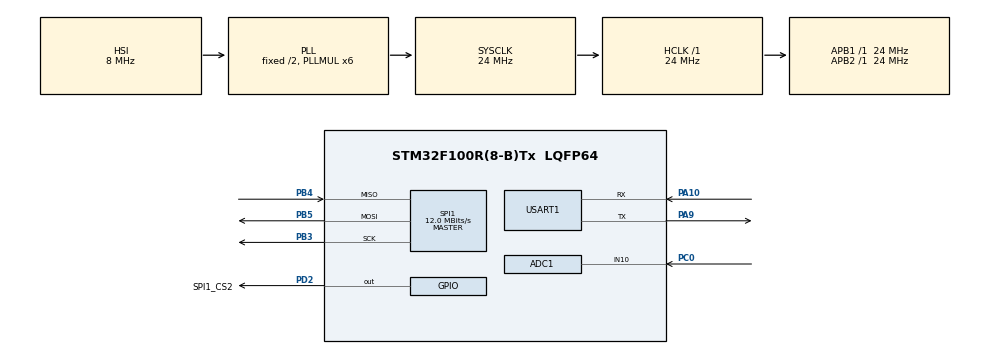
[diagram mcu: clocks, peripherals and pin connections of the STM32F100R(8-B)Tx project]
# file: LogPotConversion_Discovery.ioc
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Mcu.Family=STM32F1
PD1-OSC_OUT.Mode=HSE-External-Oscillator
PA10.Mode=Asynchronous
SPI1.VirtualType=VM_MASTER
ADC1.ContinuousConvMode=ENABLE
PD0-OSC_IN.Signal=RCC_OSC_IN
PC0.Signal=ADCx_IN10
RCC.SYSCLKSource=RCC_SYSCLKSOURCE_PLLCLK
ProjectManager.StackSize=0x400
PD1-OSC_OUT.Signal=RCC_OSC_OUT
PA13.Signal=SYS_JTMS-SWDIO
PA9.Mode=Asynchronous
ProjectManager.TargetToolchain=STM32CubeIDE
SPI1.Direction=SPI_DIRECTION_2LINES
RCC.HCLKFreq_Value=24000000
RCC.APB2TimFreq_Value=24000000
PA9.Signal=USART1_TX
ADC1.Channel-1\#ChannelRegularConversion=ADC_CHANNEL_10
SPI1.CalculateBaudRate=12.0 MBits/s
RCC.AHBFreq_Value=24000000
PD0-OSC_IN.Mode=HSE-External-Oscillator
PB3.Mode=Full_Duplex_Master
board=custom
RCC.PLLMUL=RCC_PLL_MUL6
RCC.APB2Freq_Value=24000000
PB4.Mode=Full_Duplex_Master
SPI1.Mode=SPI_MODE_MASTER
PA14.Mode=Serial_Wire
PB5.Mode=Full_Duplex_Master
PA13.Mode=Serial_Wire
Mcu.Name=STM32F100R(8-B)Tx
PB3.Signal=SPI1_SCK
ADC1.SamplingTime-1\#ChannelRegularConversion=ADC_SAMPLETIME_1CYCLE_5
RCC.SYSCLKFreq_VALUE=24000000
Mcu.Package=LQFP64
PB5.Signal=SPI1_MOSI
ADC1.master=1
USART1.VirtualMode=VM_ASYNC
ADC1.Rank-1\#ChannelRegularConversion=1
PA10.Signal=USART1_RX
PA14.Signal=SYS_JTCK-SWCLK
SH.ADCx_IN10.0=ADC1_IN10,IN10
ProjectManager.HeapSize=0x200
NVIC.PriorityGroup=NVIC_PRIORITYGROUP_4
ADC1.NbrOfConversionFlag=1
RCC.APB1TimFreq_Value=24000000
PD2.Signal=GPIO_Output
NVIC.USART1_IRQn=true\:0\:0\:false\:false\:true\:true\:true
RCC.APB1Freq_Value=24000000
PD2.GPIO_Label=SPI1_CS2
PB4.Signal=SPI1_MISO

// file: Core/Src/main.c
/* USER CODE BEGIN Header */
/**
  ******************************************************************************
  * @file           : main.c
  * @brief          : Main program body
  ******************************************************************************
  * @attention
  *
  * <h2><center>&copy; Copyright (c) 2021 STMicroelectronics.
  * All rights reserved.</center></h2>
  *
  * This software component is licensed by ST under BSD 3-Clause license,
  * the "License"; You may not use this file except in compliance with the
  * License. You may obtain a copy of the License at:
  *                        opensource.org/licenses/BSD-3-Clause
  *
  ******************************************************************************
  */
/* USER CODE END Header */
#include "main.h"
#include "adc.h"
#include "spi.h"
#include "usart.h"
#include "gpio.h"

/* USER CODE BEGIN Includes */
#include "stdlib.h"
/* USER CODE END Includes */

void SystemClock_Config(void);

int main(void)
{

  /* MCU Configuration--------------------------------------------------------*/

  /* Reset of all peripherals, Initializes the Flash interface and the Systick. */
  HAL_Init();

  /* Configure the system clock */
  SystemClock_Config();

  /* Initialize all configured peripherals */
  MX_GPIO_Init();
  MX_SPI1_Init();
  MX_ADC1_Init();
  MX_USART1_UART_Init();
  /* USER CODE BEGIN 2 */

  uint32_t adcResult1 = 0;
  uint32_t adcResult2 = 0;
  uint32_t adcTotal;
  uint32_t temp = 0;
  char txBuf[4] = {0};
  /* USER CODE END 2 */
  /* Infinite loop */
  while (1)
  {

    /* USER CODE BEGIN 3 */
      /*
      // Get 1st result;
      HAL_ADC_Start(&hadc1);
      HAL_ADC_PollForConversion(&hadc1, 100);
      adcResult1 = HAL_ADC_GetValue(&hadc1);
      HAL_ADC_Stop(&hadc1);

      // Get 2nd result;
      HAL_ADC_Start(&hadc1);
      HAL_ADC_PollForConversion(&hadc1, 100);
      adcResult2 = HAL_ADC_GetValue(&hadc1);
      HAL_ADC_Stop(&hadc1);

      adcTotal = (adcResult1 + adcResult2)/2;

      if (adcTotal <= 1020)
      {
          temp = adcTotal/17;
      }

      else if (adcTotal > 1020)
      {
          temp = adcTotal/68;
          temp = temp + 45;
      }
        */
      HAL_ADC_Start(&hadc1);
      HAL_ADC_PollForConversion(&hadc1, 100);
      adcResult1 = HAL_ADC_GetValue(&hadc1);
      HAL_ADC_Stop(&hadc1);
      temp = adcResult1/41;

      itoa(temp, txBuf, 10);
      HAL_ADC_Stop(&hadc1);
      txBuf[2] = '\r';
      txBuf[3] = '\n';
      HAL_UART_Transmit_IT(&huart1, (uint8_t*)txBuf, sizeof(txBuf));
      HAL_UART_Transmit_IT(&huart1, (uint8_t*)"\n\r-------------\n\r", sizeof("\n-------------\n\r"));
      HAL_Delay(500);
  }
  /* USER CODE END 3 */
}

void SystemClock_Config(void)
{
  RCC_OscInitTypeDef RCC_OscInitStruct = {0};
  RCC_ClkInitTypeDef RCC_ClkInitStruct = {0};
  RCC_PeriphCLKInitTypeDef PeriphClkInit = {0};

  /** Initializes the RCC Oscillators according to the specified parameters
  * in the RCC_OscInitTypeDef structure.
  */
  RCC_OscInitStruct.OscillatorType = RCC_OSCILLATORTYPE_HSI;
  RCC_OscInitStruct.HSIState = RCC_HSI_ON;
  RCC_OscInitStruct.HSICalibrationValue = RCC_HSICALIBRATION_DEFAULT;
  RCC_OscInitStruct.PLL.PLLState = RCC_PLL_ON;
  RCC_OscInitStruct.PLL.PLLSource = RCC_PLLSOURCE_HSI_DIV2;
  RCC_OscInitStruct.PLL.PLLMUL = RCC_PLL_MUL6;
  if (HAL_RCC_OscConfig(&RCC_OscInitStruct) != HAL_OK)
  {
    Error_Handler();
  }
  /** Initializes the CPU, AHB and APB buses clocks
  */
  RCC_ClkInitStruct.ClockType = RCC_CLOCKTYPE_HCLK|RCC_CLOCKTYPE_SYSCLK
                              |RCC_CLOCKTYPE_PCLK1|RCC_CLOCKTYPE_PCLK2;
  RCC_ClkInitStruct.SYSCLKSource = RCC_SYSCLKSOURCE_PLLCLK;
  RCC_ClkInitStruct.AHBCLKDivider = RCC_SYSCLK_DIV1;
  RCC_ClkInitStruct.APB1CLKDivider = RCC_HCLK_DIV1;
  RCC_ClkInitStruct.APB2CLKDivider = RCC_HCLK_DIV1;

  if (HAL_RCC_ClockConfig(&RCC_ClkInitStruct, FLASH_LATENCY_0) != HAL_OK)
  {
    Error_Handler();
  }
  PeriphClkInit.PeriphClockSelection = RCC_PERIPHCLK_ADC;
  PeriphClkInit.AdcClockSelection = RCC_ADCPCLK2_DIV2;
  if (HAL_RCCEx_PeriphCLKConfig(&PeriphClkInit) != HAL_OK)
  {
    Error_Handler();
  }
}

void Error_Handler(void)
{
  __disable_irq();
  while (1)
  {
  }
}

/************************ (C) COPYRIGHT STMicroelectronics *****END OF FILE****/
